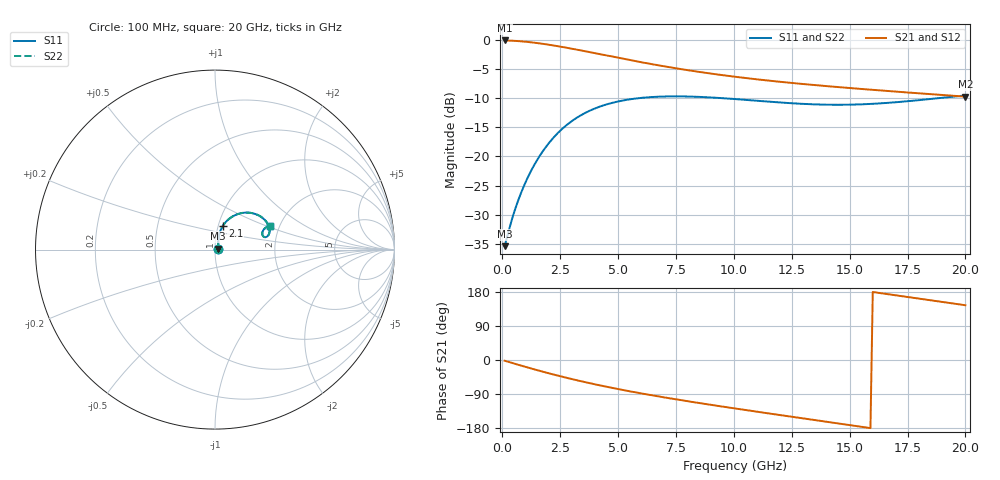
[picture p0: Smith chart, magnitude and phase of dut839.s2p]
! Touchstone file exported from HFSS 2024.1.0
!  File:  C:/UserFiles/LocalFiles/RDL_TSV_Batchsim/temp_RDL_TSV_839_1779919858.aedt
!  Generated:  06:28:29 AM May 28, 2026
!  Design:  RDL_TSV
!  Project:  temp_RDL_TSV_839_1779919858
!  Setup:  Setup1
!  Solution:  Sweep
! Variables:
!  dtsv = 8.81um
!  hbump = 3um
!  htsv = 70.73um
!  ldown = 692.3um
!  lrdl = 284.53um
!  p = 40
!  p1 = 50.35um
!  rhole = 10um
!  subl = 3215.02um
!  t = 450um
!  tdown = 4.67um
!  trdl = 4.87um
!  viad = 10um
!  wdown = 13.72um
!  wrdl = 22.75um
!  xbump = 18um
# GHz S MA R 50.000000
! Terminal data exported
! Port[1] = TM1_1_T1
! Port[2] = TM1_4_T1
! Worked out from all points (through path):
!   200 points, 100 MHz to 20 GHz, reference 50 ohm
!   highest |S21| = -0.14 dB at 100 MHz (marker M1); lowest = -9.8 dB at 20 GHz (marker M2)
!   group delay of S21, straight-line fit = 28 ps
!   lowest |S11| = -35.4 dB at 100 MHz (marker M3), VSWR 1.03, Z = 51.6 + j0.616 ohm
!   |S11| at or under -10 dB: start of sweep to 5.95 GHz; 9.405 GHz to 18.91 GHz (9.508 GHz wide, 67.2 % of centre)
!   |S22| runs from -35.4 to -9.6 dB; largest |S21 - S12| = 1.4e-13
!   S11 on the Smith chart (normalised r, x): 100 MHz: 1.03, +0.01; 2.1 GHz: 1.05, +0.28; 20 GHz: 1.78, +0.53
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0.1  0.01703 20.5  0.9838 -1.9  0.9838 -1.9  0.01703 20.5
! Gamma 0 0 0 0
! Port Impedance 50 0 50 0
0.5  0.03269 57.8  0.9768 -9.2  0.9768 -9.2  0.03268 57.8
0.7  0.04265 65.3  0.9711 -12.8  0.9711 -12.8  0.04264 65.3
1  0.05974 71.5  0.9599 -18.1  0.9599 -18.1  0.05973 71.6
1.2  0.07238 73.5  0.9509 -21.6  0.9509 -21.6  0.07237 73.6
1.5  0.09281 74.5  0.9353 -26.7  0.9353 -26.7  0.09281 74.5
1.8  0.1144 73.8  0.9178 -31.7  0.9178 -31.7  0.1144 73.8
2.1  0.1366 72.0  0.8987 -36.6  0.8987 -36.6  0.1366 72.0
2.8  0.187 65.6  0.8508 -47.3  0.8508 -47.3  0.187 65.6
3.5  0.2311 58.0  0.801 -57.4  0.801 -57.4  0.2312 58.1
4.2  0.2664 50.6  0.752 -66.8  0.752 -66.8  0.2665 50.6
5.1  0.2983 41.9  0.6932 -77.9  0.6932 -77.9  0.2985 41.9
5.9  0.3155 35.2  0.6462 -87.0  0.6462 -87.0  0.3157 35.2
6.8  0.3249 28.8  0.5998 -96.7  0.5998 -96.7  0.3252 28.9
8.3  0.3244 20.9  0.5365 -111.6  0.5365 -111.6  0.3248 20.9
10.1  0.3093 15.3  0.4795 -128.3  0.4795 -128.3  0.3097 15.4
11.7  0.2924 13.8  0.4414 -142.7  0.4414 -142.7  0.2928 13.8
13.4  0.2794 15.2  0.4096 -157.7  0.4096 -157.7  0.2797 15.2
15  0.2773 18.3  0.385 -171.8  0.385 -171.8  0.2776 18.2
16.7  0.2879 21.6  0.3625 173.3  0.3625 173.3  0.2882 21.6
18.4  0.3088 23.5  0.3423 158.4  0.3423 158.4  0.309 23.5
20  0.3327 23.5  0.3249 144.5  0.3249 144.5  0.3329 23.4
